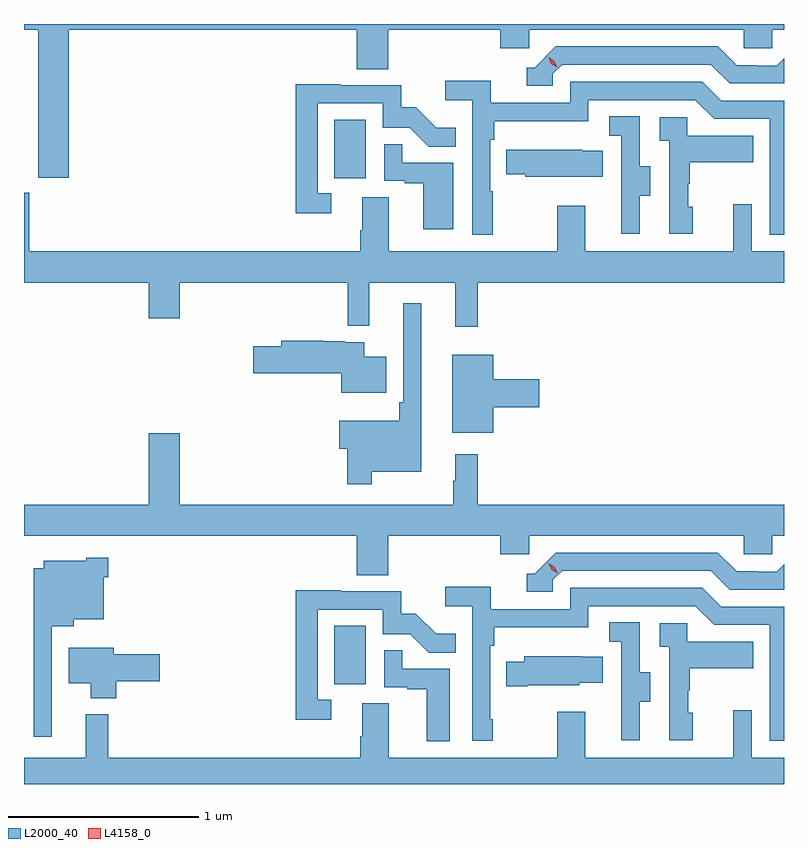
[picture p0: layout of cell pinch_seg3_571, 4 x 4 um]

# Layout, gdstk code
import gdstk
lib = gdstk.Library(unit=1e-6, precision=1e-09)
def R(c, l, rs):  # rectangles x0, y0, x1, y1
    for r in rs: c.add(gdstk.rectangle(r[:2], r[2:], *l))
def P(c, l, *ps):  # polygons
    for p in ps: c.add(gdstk.Polygon(p, *l))
L2000_40 = (2000, 40)
L4158_0 = (4158, 0)

pinch_seg3_571 = lib.new_cell('pinch_seg3_571')
R(pinch_seg3_571, L2000_40, [(1077.074,689.478,1077.238,689.785), (1077.074,692.142,1077.238,692.449)])
P(pinch_seg3_571, L2000_40, [(1075.676,692.924),(1077.191,692.924),(1077.191,692.716),(1077.356,692.716),(1077.356,692.924),(1077.947,692.924),(1077.947,692.826),(1078.098,692.826),(1078.098,692.924),(1079.229,692.924),(1079.229,692.826),(1079.379,692.826),(1079.379,692.924),(1079.44,692.924),(1079.44,692.953),(1075.44,692.953),(1075.44,692.924),(1075.516,692.924),(1075.516,692.145),(1075.676,692.145)],
  [(1078.224,692.691),(1078.272,692.739),(1079.055,692.739),(1079.154,692.64),(1079.44,692.64),(1079.44,692.773),(1079.401,692.733),(1079.298,692.733),(1079.298,692.736),(1079.191,692.736),(1079.092,692.835),(1078.239,692.835),(1078.128,692.724),(1078.085,692.724),(1078.085,692.628),(1078.224,692.628)],
  [(1077.907,692.072),(1077.894,692.072),(1077.894,692.345),(1077.914,692.345),(1077.914,692.441),(1078.41,692.441),(1078.41,692.553),(1078.974,692.553),(1079.073,692.454),(1079.364,692.454),(1079.364,691.845),(1079.44,691.845),(1079.44,692.55),(1079.11,692.55),(1079.011,692.649),(1078.314,692.649),(1078.314,692.538),(1077.896,692.538),(1077.896,692.654),(1077.657,692.654),(1077.657,692.552),(1077.798,692.552),(1077.798,691.845),(1077.907,691.845)],
  [(1077.058,692.061),(1076.985,692.061),(1076.985,692.535),(1077.327,692.535),(1077.327,692.406),(1077.471,692.406),(1077.569,692.308),(1077.713,692.308),(1077.713,692.407),(1077.609,692.407),(1077.502,692.514),(1077.426,692.514),(1077.426,692.631),(1077.107,692.631),(1077.107,692.636),(1076.869,692.636),(1076.869,691.956),(1077.058,691.956)],
  [(1078.681,692.05),(1078.735,692.05),(1078.735,692.205),(1078.68,692.205),(1078.68,692.468),(1078.521,692.468),(1078.521,692.365),(1078.584,692.365),(1078.584,692.061),(1078.583,692.061),(1078.583,691.848),(1078.681,691.848)],
  [(1078.96,691.992),(1078.935,691.992),(1078.935,692.111),(1078.945,692.111),(1078.945,692.225),(1079.279,692.225),(1079.279,692.365),(1078.932,692.365),(1078.932,692.463),(1078.785,692.463),(1078.785,692.339),(1078.836,692.339),(1078.836,691.848),(1078.96,691.848)],
  [(1077.7,692.223),(1077.431,692.223),(1077.431,692.321),(1077.336,692.321),(1077.336,692.127),(1077.443,692.127),(1077.443,692.115),(1077.542,692.115),(1077.542,691.872),(1077.7,691.872)],
  [(1078.487,692.287),(1078.379,692.287),(1078.379,692.29),(1077.979,692.29),(1077.979,692.161),(1078.077,692.161),(1078.077,692.15),(1078.487,692.15)],
  [(1077.827,691.592),(1079.44,691.592),(1079.44,691.756),(1079.271,691.756),(1079.271,692.005),(1079.174,692.005),(1079.174,691.756),(1078.393,691.756),(1078.393,691.996),(1078.246,691.996),(1078.246,691.756),(1077.361,691.756),(1077.361,692.042),(1077.221,692.042),(1077.221,691.868),(1077.209,691.868),(1077.209,691.756),(1075.468,691.756),(1075.468,692.065),(1075.44,692.065),(1075.44,691.592),(1076.096,691.592),(1076.096,691.404),(1076.26,691.404),(1076.26,691.592),(1077.143,691.592),(1077.143,691.364),(1077.257,691.364),(1077.257,691.592),(1077.71,691.592),(1077.71,691.359),(1077.827,691.359)],
  [(1077.271,690.596),(1077.532,690.596),(1077.532,691.483),(1077.435,691.483),(1077.435,690.961),(1077.415,690.961),(1077.415,690.865),(1077.098,690.865),(1077.098,690.718),(1077.142,690.718),(1077.142,690.531),(1077.271,690.531)],
  [(1077.346,691.201),(1077.232,691.201),(1077.232,691.279),(1077.128,691.279),(1077.128,691.284),(1077.014,691.284),(1077.014,691.287),(1076.795,691.287),(1076.795,691.257),(1076.646,691.257),(1076.646,691.115),(1077.11,691.115),(1077.11,691.013),(1077.346,691.013)],
  [(1077.91,690.935),(1078.153,690.935),(1078.153,691.082),(1077.91,691.082),(1077.91,691.213),(1077.695,691.213),(1077.695,690.803),(1077.91,690.803)],
  [(1077.356,690.26),(1077.947,690.26),(1077.947,690.162),(1078.098,690.162),(1078.098,690.26),(1079.229,690.26),(1079.229,690.162),(1079.379,690.162),(1079.379,690.26),(1079.44,690.26),(1079.44,690.424),(1077.827,690.424),(1077.827,690.688),(1077.71,690.688),(1077.71,690.548),(1077.699,690.548),(1077.699,690.424),(1076.26,690.424),(1076.26,690.799),(1076.096,690.799),(1076.096,690.424),(1075.44,690.424),(1075.44,690.26),(1077.191,690.26),(1077.191,690.052),(1077.356,690.052)],
  [(1078.224,690.027),(1078.272,690.075),(1079.055,690.075),(1079.154,689.976),(1079.44,689.976),(1079.44,690.109),(1079.401,690.069),(1079.298,690.069),(1079.298,690.072),(1079.191,690.072),(1079.092,690.171),(1078.239,690.171),(1078.128,690.06),(1078.085,690.06),(1078.085,689.964),(1078.224,689.964)],
  [(1075.587,689.783),(1075.702,689.783),(1075.702,689.819),(1075.861,689.819),(1075.861,690.041),(1075.883,690.041),(1075.883,690.145),(1075.767,690.145),(1075.767,690.127),(1075.544,690.127),(1075.544,690.088),(1075.49,690.088),(1075.49,689.202),(1075.587,689.202)],
  [(1077.907,689.293),(1077.894,689.293),(1077.894,689.681),(1077.914,689.681),(1077.914,689.777),(1078.41,689.777),(1078.41,689.889),(1078.974,689.889),(1079.073,689.79),(1079.364,689.79),(1079.364,689.181),(1079.44,689.181),(1079.44,689.886),(1079.11,689.886),(1079.011,689.985),(1078.314,689.985),(1078.314,689.874),(1077.896,689.874),(1077.896,689.99),(1077.657,689.99),(1077.657,689.888),(1077.798,689.888),(1077.798,689.181),(1077.907,689.181)],
  [(1077.058,689.397),(1076.985,689.397),(1076.985,689.871),(1077.327,689.871),(1077.327,689.742),(1077.472,689.742),(1077.57,689.644),(1077.713,689.644),(1077.713,689.743),(1077.609,689.743),(1077.502,689.85),(1077.426,689.85),(1077.426,689.967),(1077.107,689.967),(1077.107,689.972),(1076.869,689.972),(1076.869,689.292),(1077.058,689.292)],
  [(1078.681,689.386),(1078.735,689.386),(1078.735,689.541),(1078.68,689.541),(1078.68,689.804),(1078.521,689.804),(1078.521,689.701),(1078.584,689.701),(1078.584,689.397),(1078.583,689.397),(1078.583,689.184),(1078.681,689.184)],
  [(1078.96,689.328),(1078.935,689.328),(1078.935,689.447),(1078.945,689.447),(1078.945,689.561),(1079.279,689.561),(1079.279,689.701),(1078.932,689.701),(1078.932,689.799),(1078.785,689.799),(1078.785,689.675),(1078.836,689.675),(1078.836,689.184),(1078.96,689.184)],
  [(1075.925,689.494),(1076.155,689.494),(1076.155,689.636),(1075.912,689.636),(1075.912,689.671),(1075.676,689.671),(1075.676,689.483),(1075.79,689.483),(1075.79,689.405),(1075.925,689.405)],
  [(1077.682,689.559),(1077.431,689.559),(1077.431,689.657),(1077.336,689.657),(1077.336,689.463),(1077.457,689.463),(1077.457,689.451),(1077.56,689.451),(1077.56,689.177),(1077.682,689.177)],
  [(1078.09,689.474),(1078.362,689.474),(1078.362,689.486),(1078.487,689.486),(1078.487,689.623),(1078.379,689.623),(1078.379,689.626),(1078.073,689.626),(1078.073,689.596),(1077.979,689.596),(1077.979,689.467),(1078.09,689.467)],
  [(1079.44,689.092),(1079.271,689.092),(1079.271,689.341),(1079.174,689.341),(1079.174,689.092),(1078.393,689.092),(1078.393,689.332),(1078.246,689.332),(1078.246,689.092),(1077.361,689.092),(1077.361,689.378),(1077.221,689.378),(1077.221,689.204),(1077.209,689.204),(1077.209,689.092),(1075.883,689.092),(1075.883,689.32),(1075.766,689.32),(1075.766,689.092),(1075.44,689.092),(1075.44,688.953),(1079.44,688.953)])
P(pinch_seg3_571, L4158_0, [(1078.248,690.062),(1078.218,690.081),(1078.202,690.114),(1078.202,690.114),(1078.202,690.114),(1078.233,690.094),(1078.249,690.062),(1078.249,690.062)],
  [(1078.247,692.725),(1078.216,692.744),(1078.201,692.777),(1078.201,692.777),(1078.201,692.777),(1078.232,692.758),(1078.247,692.725),(1078.247,692.725)])

lib.write_gds('pinch_seg3_571.gds')
